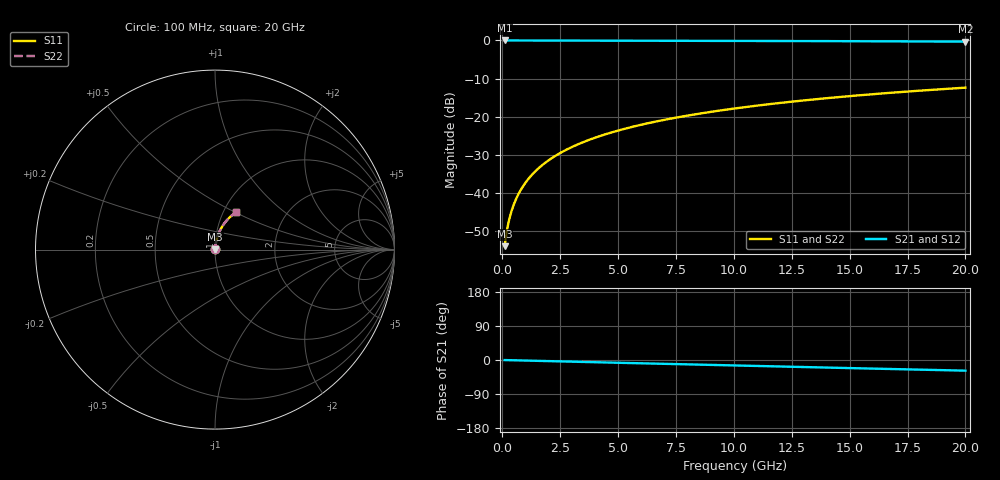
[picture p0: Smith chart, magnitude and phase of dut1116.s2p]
! Touchstone file exported from HFSS 2026.1.0
!  File:  C:/ffzhzh/LocalFiles/Ansys_Project_Files/temp_train_TMRDL_1116_1783161515_22436.aedt
!  Generated:  06:39:48 PM Jul  4, 2026
!  Design:  TMRDL
!  Project:  temp_train_TMRDL_1116_1783161515_22436
! Variables:
!  h_bsmrdl = 2um
!  h_ox = 20um
!  h_rdl = 5um
!  h_sub = 80um
!  h_tmrdl = 4.18um
!  h_tsv = 80um
!  h_via = 3um
!  l_bsmrdl = 300um
!  l_sub = 796.92um
!  l_tmrdl = 396.92um
!  m_sub = 200um
!  pitch = 55.5um
!  r_tsv = 6um
!  s_tmrdl = 10um
!  w_bsmrdl = 18um
!  w_sub = 500um
!  w_tmrdl = 30um
!  x_tsv_center1 = 411.92um
!  x_tsv_center2 = 729.92um
!  x_tsv_center3 = 1156.84um
!  x_tsv_center4 = 1474.84um
!  x_tsv_center5 = 1901.76um
!  x_tsv_center6 = 2219.76um
# GHz S MA R 50.000000
! Terminal data exported
! Port[1] = TM_RDL1_1_T1
! Port[2] = TM_RDL1_1_T2
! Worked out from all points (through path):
!   200 points, 100 MHz to 20 GHz, reference 50 ohm
!   highest |S21| = -0.01 dB at 100 MHz (marker M1); lowest = -0.3 dB at 20 GHz (marker M2)
!   group delay of S21, straight-line fit = 3.9 ps
!   lowest |S11| = -53.9 dB at 100 MHz (marker M3), VSWR 1.00, Z = 50.1 + j0.15 ohm
!   |S11| at or under -10 dB: start of sweep to end of sweep
!   |S22| runs from -53.9 to -12.4 dB; largest |S21 - S12| = 2.2e-15
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0.1  0.002024 47.8  0.9986 -0.2  0.9986 -0.2  0.002024 47.8
! Gamma 0 0 0 0
! Port Impedance 50 0 50 0
0.2  0.003276 63.1  0.9985 -0.3  0.9985 -0.3  0.003276 63.1
0.3  0.004568 69.4  0.9984 -0.5  0.9984 -0.5  0.004568 69.4
0.4  0.005857 73.1  0.9983 -0.6  0.9983 -0.6  0.005857 73.1
0.5  0.00715 75.5  0.9983 -0.7  0.9983 -0.7  0.007149 75.5
0.7  0.009753 78.5  0.9982 -1.0  0.9982 -1.0  0.009753 78.5
0.8  0.01106 79.4  0.9982 -1.2  0.9982 -1.2  0.01106 79.4
1  0.0137 80.8  0.9981 -1.5  0.9981 -1.5  0.0137 80.8
1.2  0.01634 81.6  0.998 -1.8  0.998 -1.8  0.01634 81.6
1.4  0.01899 82.1  0.9979 -2.1  0.9979 -2.1  0.01899 82.1
1.7  0.02297 82.4  0.9977 -2.5  0.9977 -2.5  0.02297 82.4
2  0.02695 82.6  0.9976 -2.9  0.9976 -2.9  0.02695 82.6
2.7  0.03619 82.3  0.997 -4.0  0.997 -4.0  0.03619 82.3
3.5  0.04667 81.6  0.9963 -5.1  0.9963 -5.1  0.04667 81.6
4.2  0.05575 80.8  0.9955 -6.1  0.9955 -6.1  0.05575 80.8
5  0.06602 79.9  0.9946 -7.3  0.9946 -7.3  0.06602 79.9
6.8  0.08878 77.6  0.9921 -9.9  0.9921 -9.9  0.08878 77.6
8.3  0.1074 75.6  0.9898 -12.0  0.9898 -12.0  0.1074 75.6
10.1  0.1293 73.3  0.9866 -14.5  0.9866 -14.5  0.1293 73.3
13.4  0.1682 68.9  0.98 -19.1  0.98 -19.1  0.1682 68.9
16.7  0.2055 64.6  0.9724 -23.7  0.9724 -23.7  0.2055 64.6
20  0.2407 60.3  0.9638 -28.1  0.9638 -28.1  0.2406 60.3
